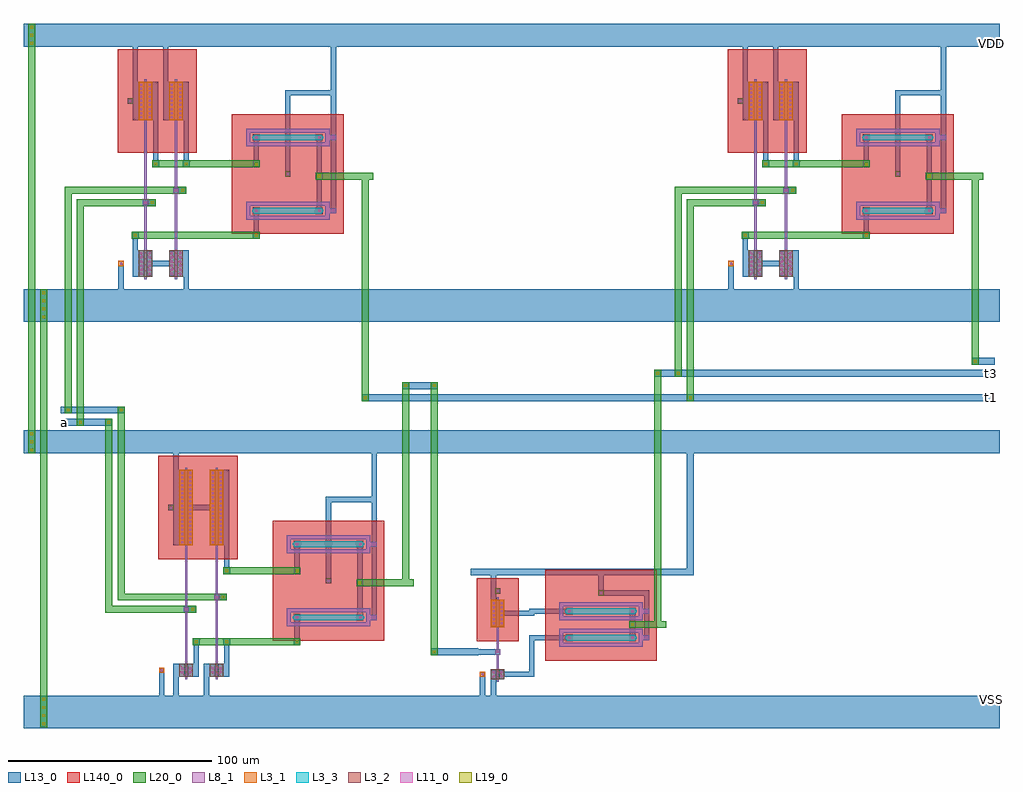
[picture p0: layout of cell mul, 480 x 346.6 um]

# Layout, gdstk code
import gdstk
lib = gdstk.Library(unit=1e-6, precision=1e-09)
def R(c, l, rs):  # rectangles x0, y0, x1, y1
    for r in rs: c.add(gdstk.rectangle(r[:2], r[2:], *l))
def A(c, l, x, y, w, h, nx, ny, dx, dy):  # array of equal rectangles
    R(c, l, [(x+i*dx, y+j*dy, x+i*dx+w, y+j*dy+h) for i in range(nx) for j in range(ny)])
def P(c, l, *ps):  # polygons
    for p in ps: c.add(gdstk.Polygon(p, *l))
L3_1 = (3, 1)
L3_2 = (3, 2)
L3_3 = (3, 3)
L8_1 = (8, 1)
L11_0 = (11, 0)
L13_0 = (13, 0)
L19_0 = (19, 0)
L20_0 = (20, 0)
L140_0 = (140, 0)

fet_p = lib.new_cell('fet_p')
R(fet_p, L3_1, [(-3.3,-9.5,3.3,9.5)])
A(fet_p, L11_0, -2.5, -8.5, 1, 1, 1, 9, 0, 2)
A(fet_p, L11_0, 1.5, -8.5, 1, 1, 1, 9, 0, 2)
R(fet_p, L13_0, [(-3.3,-9.3,-0.7,9.3), (0.7,-9.3,3.3,9.3)])
fet_p.add(gdstk.FlexPath([(0,-10.7),(0,10.7)], 1, ends="flush", simple_path=True, layer=8, datatype=1))  # L8_1

fet_n = lib.new_cell('fet_n')
R(fet_n, L3_2, [(-3.3,-6.5,3.3,6.5)])
A(fet_n, L11_0, -2.5, -5.5, 1, 1, 1, 6, 0, 2)
A(fet_n, L11_0, 1.5, -5.5, 1, 1, 1, 6, 0, 2)
R(fet_n, L13_0, [(-3.3,-6.3,-0.7,6.3), (0.7,-6.3,3.3,6.3)])
fet_n.add(gdstk.FlexPath([(0,-7.7),(0,7.7)], 1, ends="flush", simple_path=True, layer=8, datatype=1))  # L8_1

res_diff = lib.new_cell('res_diff')
P(res_diff, L3_3, [(-16.5,-1.4),(-17.5,-0.4),(-17.5,0.4),(-16.5,1.4),(16.5,1.4),(17.5,0.4),(17.5,-0.4),(16.5,-1.4)])
P(res_diff, L8_1, [(-20.5,-4.4),(-20.5,2.4),(-18.5,2.4),(-18.5,-2.4),(18.5,-2.4),(18.5,2.4),(-20.5,2.4),(-20.5,4.4),(20.5,4.4),(20.5,-4.4)])
R(res_diff, L11_0, [(-16,-0.5,-15,0.5), (15,-0.5,16,0.5)])
R(res_diff, L13_0, [(-17.2,-1.7,-13.8,1.7), (13.8,-1.7,17.2,1.7)])

cont_n = lib.new_cell('cont_n')
R(cont_n, L3_2, [(-1.3,-1.3,1.3,1.3)])
R(cont_n, L11_0, [(-0.5,-0.5,0.5,0.5)])
R(cont_n, L13_0, [(-1.3,-1.3,1.3,1.3)])

cont_p = lib.new_cell('cont_p')
R(cont_p, L3_1, [(-1.3,-1.3,1.3,1.3)])
R(cont_p, L11_0, [(-0.5,-0.5,0.5,0.5)])
R(cont_p, L13_0, [(-1.3,-1.3,1.3,1.3)])

cont_g = lib.new_cell('cont_g')
R(cont_g, L8_1, [(-1.3,-1.3,1.3,1.3)])
R(cont_g, L11_0, [(-0.5,-0.5,0.5,0.5)])
R(cont_g, L13_0, [(-1.3,-1.3,1.3,1.3)])

via_1 = lib.new_cell('via_1')
R(via_1, L13_0, [(-1.7,-1.7,1.7,1.7)])
R(via_1, L19_0, [(-0.7,-0.7,0.7,0.7)])
R(via_1, L20_0, [(-1.7,-1.7,1.7,1.7)])

mul_nand = lib.new_cell('mul_nand')
R(mul_nand, L8_1, [(19.5,15.5,20.5,96.5), (34.5,15.5,35.5,96.5), (109.2,40.7,113.8,43.3), (109.2,76.7,113.8,79.3)])
R(mul_nand, L13_0, [(0,0,132,3.4), (6.7,0.4,9.3,17.3), (38.7,0.4,41.3,17.3), (13.7,9.5,19.3,22.5), (35.7,9.5,41.3,22.5), (13.7,14.7,19.3,17.3), (13.7,14.7,16.3,31.3), (20.7,14.7,34.3,17.3), (35.7,14.7,41.3,17.3), (73.2,28.7,75.8,43.3), (104.2,40.7,106.8,79.3), (111.2,40.7,113.8,101.3), (18.7,44.7,24.6,47.3), (33.7,50.7,39.6,53.3), (88.7,58.7,91.3,101.3), (23.7,63.7,26.3,97.3), (38.7,63.7,41.3,97.3), (73.2,63.7,75.8,79.3), (13.7,86.5,19.3,105.5), (20.7,86.5,26.3,105.5), (28.7,86.5,34.3,105.5), (35.7,86.5,41.3,105.5), (11.3,94.7,16.3,97.3), (13.7,94.7,16.3,125.6), (13.7,94.7,16.3,125.6), (13.7,94.7,19.3,97.3), (20.7,94.7,26.3,97.3), (28.7,94.7,31.3,125.6), (28.7,94.7,34.3,97.3), (35.7,94.7,41.3,97.3), (88.7,98.7,113.8,101.3), (111.2,98.7,113.8,125.6), (0,122.6,132,126)])
R(mul_nand, L20_0, [(13.3,28.3,76.2,31.7), (0,44.3,25,47.7), (0,50.3,40,53.7), (103.8,57.3,132,60.7), (23.3,63.3,76.2,66.7)])
R(mul_nand, L140_0, [(62.5,30.6,117.5,89.4), (6.3,70.5,45.3,121.5)])
mul_nand.add(gdstk.Reference(fet_p, (20,96)))
mul_nand.add(gdstk.Reference(fet_n, (20,16)))
mul_nand.add(gdstk.Reference(fet_p, (35,96)))
mul_nand.add(gdstk.Reference(fet_n, (35,16)))
mul_nand.add(gdstk.Reference(res_diff, (90,78)))
mul_nand.add(gdstk.Reference(res_diff, (90,42)))
mul_nand.add(gdstk.Reference(cont_n, (12.6,96)))
mul_nand.add(gdstk.Reference(cont_n, (90,60)))
mul_nand.add(gdstk.Reference(cont_p, (8,16)))
mul_nand.add(gdstk.Reference(cont_g, (112.5,42)))
mul_nand.add(gdstk.Reference(cont_g, (112.5,78)))
mul_nand.add(gdstk.Reference(via_1, (25,65)))
mul_nand.add(gdstk.Reference(via_1, (40,65)))
mul_nand.add(gdstk.Reference(via_1, (15,30)))
mul_nand.add(gdstk.Reference(cont_g, (20,46)))
mul_nand.add(gdstk.Reference(via_1, (23.3,46)))
mul_nand.add(gdstk.Reference(cont_g, (35,52)))
mul_nand.add(gdstk.Reference(via_1, (38.3,52)))
mul_nand.add(gdstk.Reference(via_1, (74.5,65)))
mul_nand.add(gdstk.Reference(via_1, (74.5,30)))
mul_nand.add(gdstk.Reference(via_1, (105.5,59)))
mul_nand.add(gdstk.Label('a', (2,46), layer=49, texttype=0))
mul_nand.add(gdstk.Label('b', (2,52), layer=49, texttype=0))
mul_nand.add(gdstk.Label('vout', (130,59), layer=49, texttype=0))
mul_nand.add(gdstk.Label('V+', (66,124.3), layer=48, texttype=0))
mul_nand.add(gdstk.Label('V-', (66,1.7), layer=48, texttype=0))

fet_p_1 = lib.new_cell('fet_p$1')
R(fet_p_1, L3_1, [(-3.3,-18.5,3.3,18.5)])
A(fet_p_1, L11_0, -2.5, -17.5, 1, 1, 1, 18, 0, 2)
A(fet_p_1, L11_0, 1.5, -17.5, 1, 1, 1, 18, 0, 2)
R(fet_p_1, L13_0, [(-3.3,-18.3,-0.7,18.3), (0.7,-18.3,3.3,18.3)])
fet_p_1.add(gdstk.FlexPath([(0,-19.7),(0,19.7)], 1, ends="flush", simple_path=True, layer=8, datatype=1))  # L8_1

fet_n_1 = lib.new_cell('fet_n$1')
R(fet_n_1, L3_2, [(-3.3,-3.25,3.3,3.25)])
R(fet_n_1, L11_0, [(-2.5,-1.5,-1.5,-0.5), (1.5,-1.5,2.5,-0.5), (-2.5,0.5,-1.5,1.5), (1.5,0.5,2.5,1.5)])
R(fet_n_1, L13_0, [(-3.3,-2.3,-0.7,2.3), (0.7,-2.3,3.3,2.3)])
fet_n_1.add(gdstk.FlexPath([(0,-4.45),(0,4.45)], 1, ends="flush", simple_path=True, layer=8, datatype=1))  # L8_1

mul_nor = lib.new_cell('mul_nor')
R(mul_nor, L8_1, [(19.5,15.5,20.5,96.5), (34.5,15.5,35.5,96.5), (109.2,40.7,113.8,43.3), (109.2,76.7,113.8,79.3)])
R(mul_nor, L13_0, [(0,0,132,3.4), (6.7,0.4,9.3,17.3), (13.7,0.4,16.3,17.3), (28.7,0.4,31.3,17.3), (13.7,12.75,19.3,19.25), (20.7,12.75,26.3,19.25), (28.7,12.75,34.3,19.25), (35.7,12.75,41.3,19.25), (13.7,14.7,19.3,17.3), (20.7,14.7,26.3,17.3), (23.7,14.7,26.3,31.3), (28.7,14.7,34.3,17.3), (35.7,14.7,41.3,17.3), (38.7,14.7,41.3,31.3), (73.2,28.7,75.8,43.3), (104.2,40.7,106.8,79.3), (111.2,40.7,113.8,101.3), (18.7,44.7,24.6,47.3), (33.7,50.7,39.6,53.3), (88.7,58.7,91.3,101.3), (38.7,63.7,41.3,97.3), (73.2,63.7,75.8,79.3), (13.7,77.5,19.3,114.5), (35.7,77.5,41.3,114.5), (11.3,94.7,16.3,97.3), (13.7,94.7,16.3,125.6), (13.7,94.7,19.3,97.3), (20.7,94.7,34.3,97.3), (35.7,94.7,41.3,97.3), (88.7,98.7,113.8,101.3), (111.2,98.7,113.8,125.6), (0,122.6,132,126)])
R(mul_nor, L20_0, [(23.3,28.3,76.2,31.7), (0,44.3,25,47.7), (0,50.3,40,53.7), (103.8,57.3,132,60.7), (38.3,63.3,76.2,66.7)])
R(mul_nor, L140_0, [(62.5,30.6,117.5,89.4), (6.3,70.5,45.3,121.5)])
mul_nor.add(gdstk.Reference(fet_p_1, (20,96)))
mul_nor.add(gdstk.Reference(fet_n_1, (20,16)))
mul_nor.add(gdstk.Reference(fet_p_1, (35,96)))
mul_nor.add(gdstk.Reference(fet_n_1, (35,16)))
mul_nor.add(gdstk.Reference(res_diff, (90,78)))
mul_nor.add(gdstk.Reference(res_diff, (90,42)))
mul_nor.add(gdstk.Reference(cont_n, (12.6,96)))
mul_nor.add(gdstk.Reference(cont_n, (90,60)))
mul_nor.add(gdstk.Reference(cont_p, (8,16)))
mul_nor.add(gdstk.Reference(cont_g, (112.5,42)))
mul_nor.add(gdstk.Reference(cont_g, (112.5,78)))
mul_nor.add(gdstk.Reference(via_1, (40,65)))
mul_nor.add(gdstk.Reference(via_1, (25,30)))
mul_nor.add(gdstk.Reference(via_1, (40,30)))
mul_nor.add(gdstk.Reference(cont_g, (20,46)))
mul_nor.add(gdstk.Reference(via_1, (23.3,46)))
mul_nor.add(gdstk.Reference(cont_g, (35,52)))
mul_nor.add(gdstk.Reference(via_1, (38.3,52)))
mul_nor.add(gdstk.Reference(via_1, (74.5,65)))
mul_nor.add(gdstk.Reference(via_1, (74.5,30)))
mul_nor.add(gdstk.Reference(via_1, (105.5,59)))
mul_nor.add(gdstk.Label('a', (2,46), layer=49, texttype=0))
mul_nor.add(gdstk.Label('b', (2,52), layer=49, texttype=0))
mul_nor.add(gdstk.Label('vout', (130,59), layer=49, texttype=0))
mul_nor.add(gdstk.Label('V+', (66,124.3), layer=48, texttype=0))
mul_nor.add(gdstk.Label('V-', (66,1.7), layer=48, texttype=0))

fet_p_2 = lib.new_cell('fet_p$2')
R(fet_p_2, L3_1, [(-3.3,-6.75,3.3,6.75)])
A(fet_p_2, L11_0, -2.5, -5.5, 1, 1, 1, 6, 0, 2)
A(fet_p_2, L11_0, 1.5, -5.5, 1, 1, 1, 6, 0, 2)
R(fet_p_2, L13_0, [(-3.3,-6.3,-0.7,6.3), (0.7,-6.3,3.3,6.3)])
fet_p_2.add(gdstk.FlexPath([(0,-7.95),(0,7.95)], 1, ends="flush", simple_path=True, layer=8, datatype=1))  # L8_1

fet_n_2 = lib.new_cell('fet_n$2')
R(fet_n_2, L3_2, [(-3.3,-2.5,3.3,2.5)])
R(fet_n_2, L11_0, [(-2.5,-1.5,-1.5,-0.5), (1.5,-1.5,2.5,-0.5), (-2.5,0.5,-1.5,1.5), (1.5,0.5,2.5,1.5)])
R(fet_n_2, L13_0, [(-3.3,-2.3,-0.7,2.3), (0.7,-2.3,3.3,2.3)])
fet_n_2.add(gdstk.FlexPath([(0,-3.7),(0,3.7)], 1, ends="flush", simple_path=True, layer=8, datatype=1))  # L8_1

mul_inv = lib.new_cell('mul_inv')
R(mul_inv, L8_1, [(12.7,13.5,13.7,44.5), (83.2,30.7,87.8,33.3), (83.2,43.7,87.8,46.3)])
R(mul_inv, L13_0, [(0,0,96,3.4), (4.5,0.4,7.1,15.3), (9.9,0.4,12.5,15.3), (13.9,12.7,31.3,15.3), (28.7,12.7,31.3,33.3), (0,23.7,13.2,26.3), (28.7,30.7,49.8,33.3), (78.2,30.7,80.8,46.3), (85.2,30.7,87.8,55.3), (9.9,42.7,12.5,65.6), (13.9,42.7,31.3,45.3), (28.7,42.7,31.3,46.3), (28.7,43.7,49.8,46.3), (62.7,52.7,65.3,65.6), (62.7,52.7,87.8,55.3), (9.9,53.7,14.5,56.3), (0,62.6,96,66)])
R(mul_inv, L20_0, [(79.5,36.8,96,40.2)])
R(mul_inv, L140_0, [(36.5,20.6,91.5,65.3), (2.9,30.25,23.5,61.3)])
mul_inv.add(gdstk.Reference(fet_p_2, (13.2,44)))
mul_inv.add(gdstk.Reference(fet_n_2, (13.2,14)))
mul_inv.add(gdstk.Reference(res_diff, (64,45)))
mul_inv.add(gdstk.Reference(res_diff, (64,32)))
mul_inv.add(gdstk.Reference(cont_n, (13.2,55)))
mul_inv.add(gdstk.Reference(cont_n, (64,54)))
mul_inv.add(gdstk.Reference(cont_p, (5.8,14)))
mul_inv.add(gdstk.Reference(cont_g, (86.5,32)))
mul_inv.add(gdstk.Reference(cont_g, (86.5,45)))
mul_inv.add(gdstk.Reference(cont_g, (13.2,25)))
mul_inv.add(gdstk.Reference(via_1, (79.5,38.5)))
mul_inv.add(gdstk.Label('vout', (94,38.5), layer=49, texttype=0))
mul_inv.add(gdstk.Label('vin', (2,25), layer=48, texttype=0))
mul_inv.add(gdstk.Label('VDD', (48,64.3), layer=48, texttype=0))
mul_inv.add(gdstk.Label('VSS', (48,1.7), layer=48, texttype=0))

mul = lib.new_cell('mul')
A(mul, L13_0, 8.3, -12, 3.4, 3.4, 1, 4, 0, 4)
A(mul, L13_0, 2.3, 122.6, 3.4, 3.4, 1, 3, 0, 4)
A(mul, L13_0, 8.3, 188, 3.4, 3.4, 1, 4, 0, 4)
A(mul, L13_0, 2.3, 322.6, 3.4, 3.4, 1, 3, 0, 4)
R(mul, L13_0, [(0,-12.6,480,3.4), (200.3,23.3,203.7,26.7), (200.3,23.3,223.7,26.7), (312.6,62.6,329.7,66), (326.3,62.6,329.7,126), (0,122.6,480,134), (18.3,136.3,43.7,139.7), (26.3,136.3,29.7,139.7), (40.3,136.3,43.7,139.7), (18.3,142.3,49.7,145.7), (20.3,142.3,23.7,145.7), (46.3,142.3,49.7,145.7), (166.3,148.3,169.7,151.7), (166.3,148.3,477.7,151.7), (326.3,148.3,329.7,151.7), (186.3,154.3,189.7,157.7), (186.3,154.3,203.7,157.7), (200.3,154.3,203.7,157.7), (310.3,160.3,313.7,163.7), (310.3,160.3,477.7,163.7), (320.3,160.3,323.7,163.7), (466.3,166.3,469.7,169.7), (466.3,166.3,477.7,169.7), (0,187.4,480,203.4), (0,322.6,480,334)])
A(mul, L19_0, 9.3, -11, 1.4, 1.4, 1, 4, 0, 4)
A(mul, L19_0, 3.3, 123.6, 1.4, 1.4, 1, 3, 0, 4)
A(mul, L19_0, 9.3, 189, 1.4, 1.4, 1, 4, 0, 4)
A(mul, L19_0, 3.3, 323.6, 1.4, 1.4, 1, 3, 0, 4)
R(mul, L19_0, [(201.3,24.3,202.7,25.7), (27.3,137.3,28.7,138.7), (41.3,137.3,42.7,138.7), (21.3,143.3,22.7,144.7), (47.3,143.3,48.7,144.7), (167.3,149.3,168.7,150.7), (327.3,149.3,328.7,150.7), (187.3,155.3,188.7,156.7), (201.3,155.3,202.7,156.7), (311.3,161.3,312.7,162.7), (321.3,161.3,322.7,162.7), (467.3,167.3,468.7,168.7)])
A(mul, L20_0, 8.3, -12, 3.4, 3.4, 1, 4, 0, 4)
A(mul, L20_0, 2.3, 122.6, 3.4, 3.4, 1, 3, 0, 4)
A(mul, L20_0, 8.3, 188, 3.4, 3.4, 1, 4, 0, 4)
A(mul, L20_0, 2.3, 322.6, 3.4, 3.4, 1, 3, 0, 4)
R(mul, L20_0, [(8.3,-12,11.7,3.4), (8.3,0,11.7,203.4), (200.3,23.3,203.7,26.7), (200.3,23.3,203.7,157.7), (310.3,36.8,315.7,40.2), (310.3,36.8,313.7,163.7), (40.3,44.3,63.7,47.7), (40.3,44.3,43.7,139.7), (46.3,50.3,63.7,53.7), (46.3,50.3,49.7,145.7), (186.3,57.3,191.7,60.7), (186.3,57.3,189.7,157.7), (2.3,122.6,5.7,134), (2.3,122.6,5.7,326), (26.3,136.3,29.7,247.7), (26.3,136.3,29.7,139.7), (40.3,136.3,43.7,139.7), (20.3,142.3,23.7,253.7), (20.3,142.3,23.7,145.7), (46.3,142.3,49.7,145.7), (166.3,148.3,169.7,151.7), (166.3,148.3,169.7,260.7), (326.3,148.3,329.7,151.7), (326.3,148.3,329.7,247.7), (186.3,154.3,189.7,157.7), (200.3,154.3,203.7,157.7), (310.3,160.3,313.7,163.7), (320.3,160.3,323.7,163.7), (320.3,160.3,323.7,253.7), (466.3,166.3,469.7,169.7), (466.3,166.3,469.7,260.7), (8.3,188,11.7,203.4), (26.3,244.3,43.7,247.7), (326.3,244.3,343.7,247.7), (20.3,250.3,43.7,253.7), (320.3,250.3,343.7,253.7), (166.3,257.3,171.7,260.7), (466.3,257.3,471.7,260.7), (2.3,322.6,5.7,334)])
mul.add(gdstk.Reference(mul_nand, (40,200)))
mul.add(gdstk.Reference(mul_nor, (60,0)))
mul.add(gdstk.Reference(mul_inv, (220,0)))
mul.add(gdstk.Reference(mul_nand, (340,200)))
mul.add(gdstk.Label('a', (20,138), layer=48, texttype=0))
mul.add(gdstk.Label('b', (20,144), layer=48, texttype=0))
mul.add(gdstk.Label('t1', (476,150), layer=48, texttype=0))
mul.add(gdstk.Label('t3', (476,162), layer=48, texttype=0))
mul.add(gdstk.Label('p', (476,168), layer=48, texttype=0))
mul.add(gdstk.Label('VDD', (476,324.3), layer=48, texttype=0))
mul.add(gdstk.Label('VSS', (476,1.7), layer=48, texttype=0))

lib.write_gds('mul.gds')
